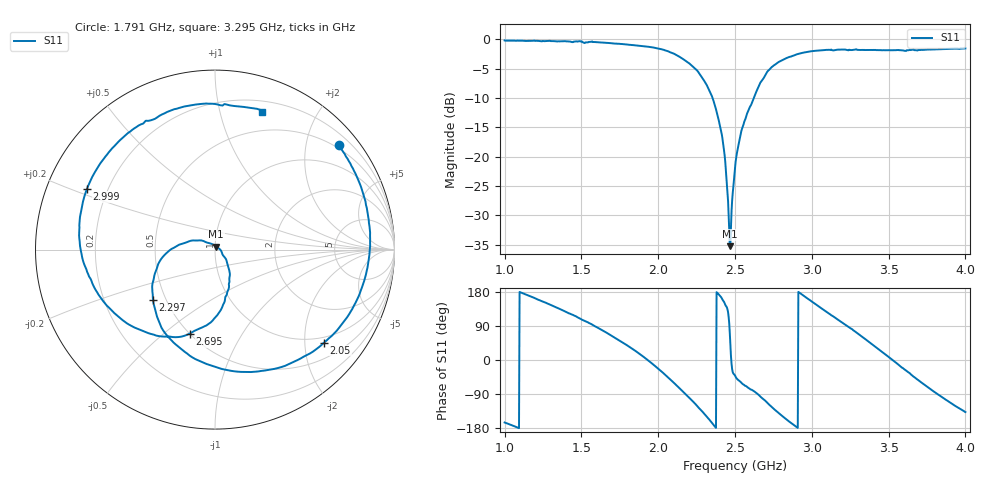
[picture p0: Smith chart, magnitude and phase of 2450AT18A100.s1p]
!JTI P/N: 2450AT18A100
!With Matching Circuit (1.0pF,2.7nH,3.9nH)
!Agilent N5230A: A.07.11.03
!Date: Friday, May 18, 2007 08:53:58
!Full 4 Port Ecal: S11(Full 4 Port(1,2,3,4))
!S1P File: Measurement: S11:
# Hz S  dB  R 50
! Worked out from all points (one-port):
!   801 points, 1 GHz to 4 GHz, reference 50 ohm
!   lowest |S11| = -35.3 dB at 2.466 GHz (marker M1), VSWR 1.04, Z = 50.6 + j1.64 ohm
!   |S11| at or under -10 dB: 2.354 GHz to 2.623 GHz (269 MHz wide, 10.8 % of centre)
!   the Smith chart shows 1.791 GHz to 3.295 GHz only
!   S11 on the Smith chart (normalised r, x): 1.791 GHz: 0.43, +2.67; 2.05 GHz: 0.86, -2.45; 2.297 GHz: 0.42, -0.30; 2.695 GHz: 0.50, -0.62; 2.999 GHz: 0.12, +0.22; 3.295 GHz: 0.30, +1.35
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1e9  -0.22 -164.9
1.19125e9  -0.26 164.2
1.375e9  -0.36 131.7
1.5775e9  -0.48 91.5
1.75e9  -0.80 51.0
1.79125e9  -0.90 40.3
1.93e9  -1.28 0.4
2.05e9  -1.96 -40.5
2.125e9  -2.81 -69.1
2.20375e9  -4.16 -100.3
2.2975e9  -7.02 -140.7
2.40625e9  -15.29 167.5
2.4325e9  -19.79 150.0
2.46625e9  -35.25 70.0
2.4775e9  -29.30 -9.9
2.5e9  -21.87 -40.8
2.55625e9  -14.47 -64.9
2.695e9  -6.20 -106.8
2.77375e9  -4.09 -136.0
2.875e9  -2.86 -169.1
2.99875e9  -2.06 154.6
3.115e9  -1.81 121.6
3.25e9  -1.85 84.3
3.295e9  -1.82 71.1
3.475e9  -1.88 16.1
3.625e9  -1.89 -31.3
3.80125e9  -1.76 -85.2
4e9  -1.58 -137.5
